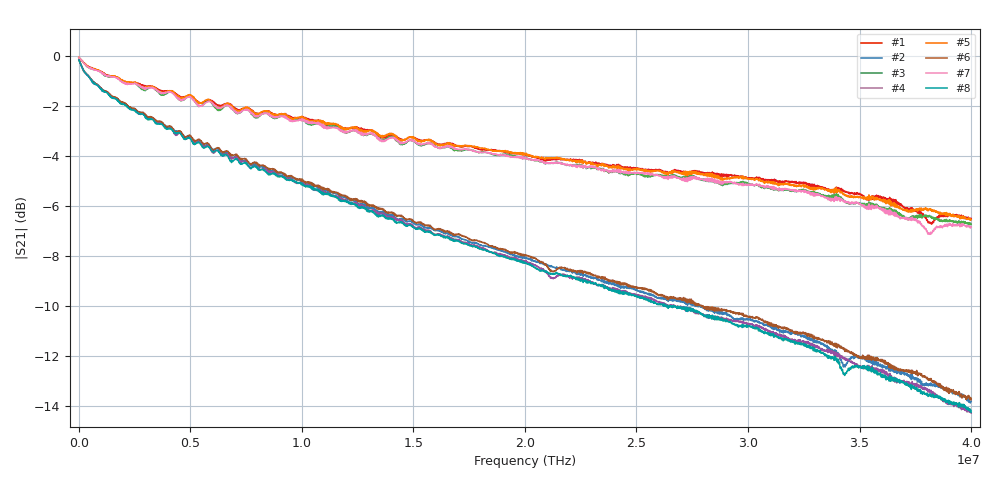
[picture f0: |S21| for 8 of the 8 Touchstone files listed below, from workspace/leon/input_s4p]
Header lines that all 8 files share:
! MS46524B
! 1918203/M1: 91020113/M2: 91020112
! 9/9/2020 2:28:19 PM
! C:\USERS\ANRITSUUSER\DESKTOP\2118 -5.S4P
! CHANNEL.1
! TR.MEASUREMENT
! CORRECTED.DATA
# GHZ S RI R 50.0
! FREQ.HZ  S11RE  S11IM  S12RE  S12IM  S13RE  S13IM  S14RE  S14IM
!  S21RE  S21IM  S22RE  S22IM  S23RE  S23IM  S24RE  S24IM
!  S31RE  S31IM  S32RE  S32IM  S33RE  S33IM  S34RE  S34IM
!  S41RE  S41IM  S42RE  S42IM  S43RE  S43IM  S44RE  S44IM
!; PortSelection: Port_1234
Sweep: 1e+04 THz to 4e+07 THz
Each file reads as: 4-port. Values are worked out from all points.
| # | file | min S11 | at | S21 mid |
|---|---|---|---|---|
| 1 | 1-L5-4.s4p | -53.5 dB | 3.786e+07 THz | -3.9 dB at 2.001e+07 THz |
| 2 | 1-L5-8.s4p | -49.5 dB | 3.7e+05 THz | -8.1 dB at 2.001e+07 THz |
| 3 | 1-L16-4.s4p | -51.2 dB | 3.29e+06 THz | -4.1 dB at 2.001e+07 THz |
| 4 | 1-L16-8.s4p | -72.9 dB | 3.895e+07 THz | -8.2 dB at 2.001e+07 THz |
| 5 | 2-L16-4.s4p | -57.2 dB | 3.621e+07 THz | -3.9 dB at 2.001e+07 THz |
| 6 | 2-L16-8.s4p | -55.1 dB | 3.842e+07 THz | -8.0 dB at 2.001e+07 THz |
| 7 | 3-L5-4.s4p | -52.2 dB | 3.714e+07 THz | -4.1 dB at 2.001e+07 THz |
| 8 | 3-L5-8.s4p | -56.7 dB | 3.695e+07 THz | -8.3 dB at 2.001e+07 THz |
